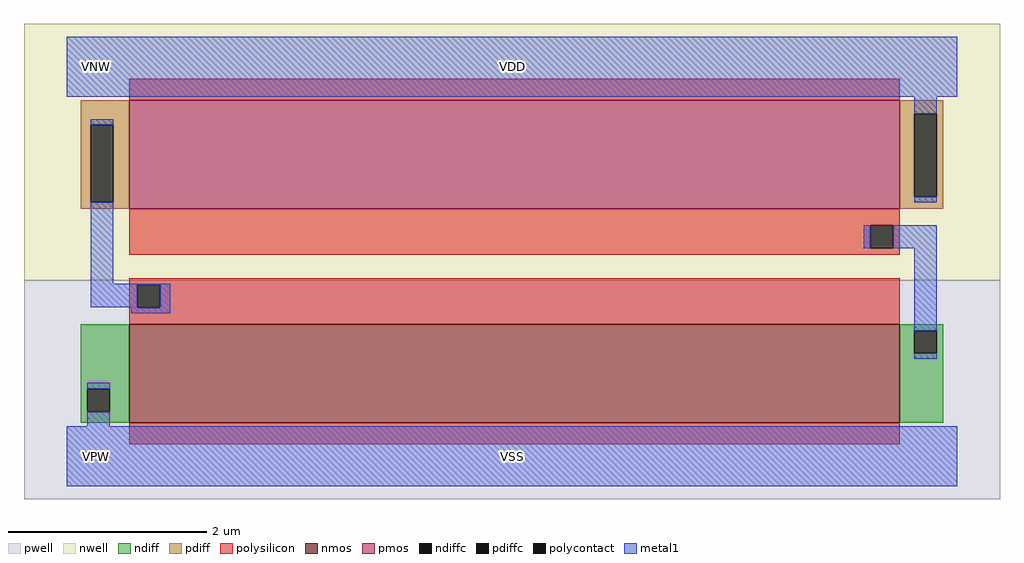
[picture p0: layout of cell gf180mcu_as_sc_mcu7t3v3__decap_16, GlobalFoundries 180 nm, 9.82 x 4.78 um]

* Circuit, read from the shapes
.subckt gf180mcu_as_sc_mcu7t3v3__decap_16 VDD VNW VPW VSS
XM1 n1 n2 VSS VPW nfet_03v3 w=0.99u l=7.75u
XM2 VDD n1 n2 VNW pfet_03v3 w=1.09u l=7.75u
.ends

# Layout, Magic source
magic
tech gf180mcuD
magscale 1 10
<< nwell >>
rect -86 354 1878 870
<< pwell >>
rect -86 -86 1878 354
<< nmos >>
rect 126 68 1676 266
<< pmos >>
rect 126 498 1676 716
<< ndiff >>
rect 28 136 126 266
rect 28 90 41 136
rect 87 90 126 136
rect 28 68 126 90
rect 1676 253 1764 266
rect 1676 207 1705 253
rect 1751 207 1764 253
rect 1676 68 1764 207
<< pdiff >>
rect 28 667 126 716
rect 28 511 48 667
rect 94 511 126 667
rect 28 498 126 511
rect 1676 689 1764 716
rect 1676 522 1705 689
rect 1751 522 1764 689
rect 1676 498 1764 522
<< ndiffc >>
rect 41 90 87 136
rect 1705 207 1751 253
<< pdiffc >>
rect 48 511 94 667
rect 1705 522 1751 689
<< polysilicon >>
rect 126 716 1676 760
rect 126 465 1676 498
rect 126 419 1617 465
rect 1663 419 1676 465
rect 126 406 1676 419
rect 126 345 1676 358
rect 126 299 142 345
rect 188 299 1676 345
rect 126 266 1676 299
rect 126 24 1676 68
<< polycontact >>
rect 1617 419 1663 465
rect 142 299 188 345
<< metal1 >>
rect 0 724 1792 844
rect 1705 689 1751 724
rect 48 667 94 678
rect 1705 511 1751 522
rect 48 347 94 511
rect 1604 419 1617 465
rect 1663 419 1751 465
rect 48 345 208 347
rect 48 300 142 345
rect 130 299 142 300
rect 188 299 208 345
rect 130 288 208 299
rect 1705 253 1751 419
rect 1705 196 1751 207
rect 41 136 87 148
rect 41 60 87 90
rect 0 -60 1792 60
<< labels >>
flabel metal1 s 0 724 1792 844 0 FreeSans 400 0 0 0 VDD
port 1 nsew power bidirectional abutment
flabel metal1 s 0 -60 1792 60 0 FreeSans 400 0 0 0 VSS
port 4 nsew ground bidirectional abutment
flabel nwell s 10 734 110 834 0 FreeSans 400 0 0 0 VNW
port 2 nsew power bidirectional
flabel pwell s 10 -50 110 50 0 FreeSans 400 0 0 0 VPW
port 3 nsew ground bidirectional
<< properties >>
string FIXED_BBOX 0 0 1792 784
string LEFclass CORE SPACER
string LEFsite unithd
string LEFsymmetry X Y
string MASKHINTS_NPLUS -16 -46 1808 354
string MASKHINTS_PPLUS -16 354 1808 830
<< end >>
